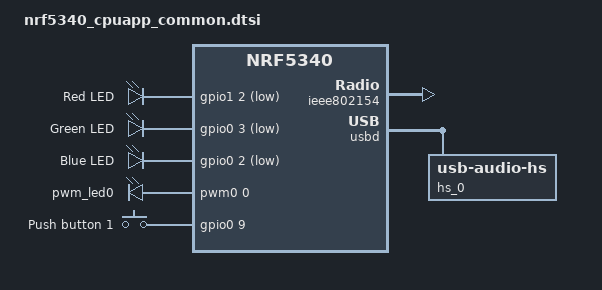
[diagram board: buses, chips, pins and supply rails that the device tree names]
/*
 * Copyright (c) 2019-2020 Nordic Semiconductor ASA
 *
 * SPDX-License-Identifier: Apache-2.0
 */
#include "nrf5340_cpuapp_common-pinctrl.dtsi"
#include <zephyr/dt-bindings/input/input-event-codes.h>

/ {

	chosen {
		zephyr,console = &cdc_acm_uart;
		zephyr,shell-uart = &cdc_acm_uart;
		zephyr,uart-mcumgr = &cdc_acm_uart;
		zephyr,bt-mon-uart = &cdc_acm_uart;
		zephyr,bt-c2h-uart = &cdc_acm_uart;
		zephyr,bt-hci-ipc = &ipc0;
		nordic,802154-spinel-ipc = &ipc0;
		zephyr,ieee802154 = &ieee802154;
	};

	leds {
		compatible = "gpio-leds";
		led0: led_0 {
			gpios = <&gpio1 2 GPIO_ACTIVE_LOW>;
			label = "Red LED";
		};
		led1: led_1 {
			gpios = <&gpio0 3 GPIO_ACTIVE_LOW>;
			label = "Green LED";
		};
		led2: led_2 {
			gpios = <&gpio0 2 GPIO_ACTIVE_LOW>;
			label = "Blue LED";
		};
	};

	pwmleds {
		compatible = "pwm-leds";
		pwm_led0: pwm_led_0 {
			pwms = <&pwm0 0 PWM_MSEC(20) PWM_POLARITY_INVERTED>;
		};
	};

	buttons {
		compatible = "gpio-keys";
		button0: button_0 {
			gpios = <&gpio0 9 (GPIO_ACTIVE_HIGH)>;
			label = "Push button 1";
			zephyr,code = <INPUT_KEY_0>;
		};
	};

	/**
	* https://developer.nordicsemi.com/nRF_Connect_SDK/doc/2.1.0-rc2/zephyr/build/dts/api/bindings/gpio/nordic%2Cnrf-gpio-forwarder.html
	*/
	gpio_fwd: nrf-gpio-forwarder {
		compatible = "nordic,nrf-gpio-forwarder";
		nrf21540-gpio-if {
			gpios =	<&gpio0 30 0>, /* tx-en-gpios */
					<&gpio0 31 0>, /* rx-en-gpios */
					<&gpio1 10 0>, /* pdn-gpios */
					<&gpio1 13 0>; /* mode-gpios */
		};
	
		nrf21540-spi-if {
			gpios = <&gpio1 8 0>,	/* cs-gpios */
					<&gpio0 29 0>,	/* SPIM_SCK */
					<&gpio0 24 0>,	/* SPIM_MISO */
					<&gpio0 26 0>;	/* SPIM_MOSI */
		};
	};

	/* These aliases are provided for compatibility with samples */
	aliases {
		led0 = &led0;
		led1 = &led1;
		led2 = &led2;
		pwm-led0 = &pwm_led0;
		sw0 = &button0;
		bootloader-led0 = &led0;
		mcuboot-button0 = &button0;
		mcuboot-led0 = &led0;
		watchdog0 = &wdt0;
	};
};

&gpiote {
	status = "okay";
};

&gpio0 {
	status = "okay";
};

&gpio1 {
	status = "okay";
};

&flash0 {

	partitions {
		compatible = "fixed-partitions";
		#address-cells = <1>;
		#size-cells = <1>;

		boot_partition: partition@0 {
			label = "mcuboot";
			reg = <0x00000000 0x00010000>;
		};
		slot0_partition: partition@10000 {
			label = "image-0";
		};
		slot0_ns_partition: partition@50000 {
			label = "image-0-nonsecure";
		};
		slot1_partition: partition@80000 {
			label = "image-1";
		};
		slot1_ns_partition: partition@c0000 {
			label = "image-1-nonsecure";
		};
		/* 0xf0000 to 0xf7fff reserved for TF-M partitions */
		storage_partition: partition@f8000 {
			label = "storage";
			reg = <0x000f8000 0x00008000>;
		};
	};
};

&uicr {
	nfct-pins-as-gpios;
};

&ieee802154 {
	status = "okay";
};

zephyr_udc0: &usbd {
	compatible = "nordic,nrf-usbd";
	status = "okay";

	cdc_acm_uart: cdc_acm_uart {
		compatible = "zephyr,cdc-acm-uart";
	};
};

zephyr_udc0: &usbd {
	compatible = "nordic,nrf-usbd";
	status = "okay";

	hs_0: hs_0 {
		compatible = "usb-audio-hs";
		mic-feature-mute;
		mic-channel-l;
		mic-channel-r;

		hp-feature-mute;
		hp-channel-l;
		hp-channel-r;
	};
};

/ {

	reserved-memory {
		#address-cells = <1>;
		#size-cells = <1>;
		ranges;

		sram0_image: image@20000000 {
			/* Zephyr image(s) memory */
		};

		sram0_s: image_s@20000000 {
			/* Secure image memory */
		};

		sram0_ns: image_ns@20040000 {
			/* Non-Secure image memory */
		};
	};
};

/* Include partition configuration file */
#include "nrf5340_cpuapp_partition_conf.dtsi"
